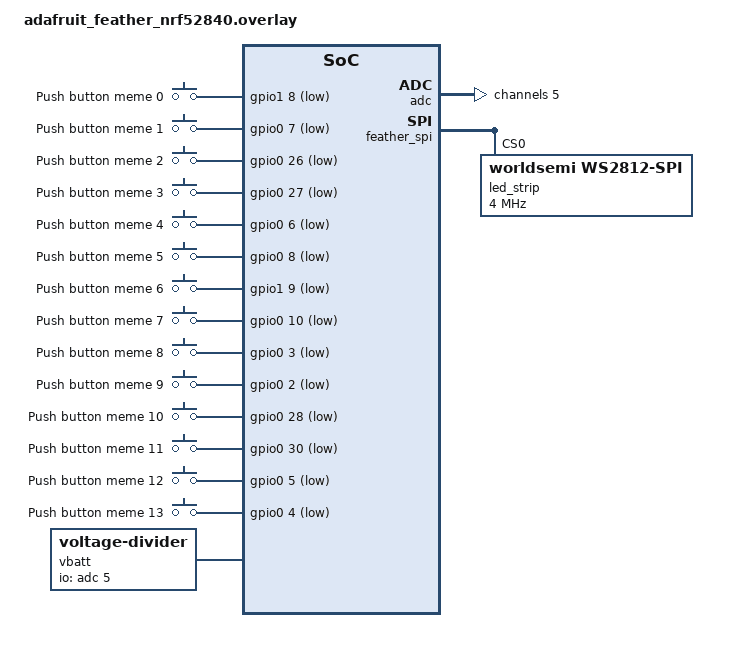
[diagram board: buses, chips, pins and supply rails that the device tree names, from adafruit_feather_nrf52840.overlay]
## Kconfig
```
#
# Copyright (c) 2018 Nordic Semiconductor
#
# SPDX-License-Identifier: LicenseRef-Nordic-5-Clause
#

source "Kconfig.zephyr"

menu "Nordic BLE HIDS Keyboard sample"

config NUM_ON_BOARD_BUTTONS
	int "Number of onboard buttons"
	default 1
	range 0 255
	help
	  Number of buttons declared in the board (not to be included in gamepad update).
config NFC_OOB_PAIRING
	bool "Enable NFC OOB pairing"
	depends on HAS_HW_NRF_NFCT
	default y
	select NFC_T2T_NRFXLIB
	select NFC_NDEF
	select NFC_NDEF_MSG
	select NFC_NDEF_RECORD
	select NFC_NDEF_LE_OOB_REC

endmenu
```

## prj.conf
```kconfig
#
# Copyright (c) 2019 Nordic Semiconductor ASA
#
# SPDX-License-Identifier: LicenseRef-Nordic-5-Clause
#
CONFIG_NCS_SAMPLES_DEFAULTS=y
CONFIG_BOOTLOADER_MCUBOOT=y
CONFIG_NCS_SAMPLE_MCUMGR_BT_OTA_DFU=y
CONFIG_BT=y
CONFIG_BT_DEBUG_LOG=y
CONFIG_BT_MAX_CONN=2
CONFIG_BT_MAX_PAIRED=2
CONFIG_BT_SMP=y
CONFIG_BT_L2CAP_TX_BUF_COUNT=5
CONFIG_BT_PERIPHERAL=y
CONFIG_BT_DEVICE_NAME="ThrillisGamePad"
CONFIG_BT_DEVICE_APPEARANCE=963
CONFIG_BT_BAS=y
CONFIG_BT_HIDS=y
CONFIG_BT_HIDS_MAX_CLIENT_COUNT=2
CONFIG_BT_HIDS_DEFAULT_PERM_RW_ENCRYPT=y
CONFIG_BT_GATT_UUID16_POOL_SIZE=40
CONFIG_BT_GATT_CHRC_POOL_SIZE=20

CONFIG_BT_CONN_CTX=y

CONFIG_BT_DIS=y
CONFIG_BT_DIS_PNP=y
CONFIG_BT_DIS_MANUF="NordicSemiconductor"
CONFIG_BT_DIS_PNP_VID_SRC=2
CONFIG_BT_DIS_PNP_VID=0x1915
CONFIG_BT_DIS_PNP_PID=0xEEEF
CONFIG_BT_DIS_PNP_VER=0x0100

CONFIG_SYSTEM_WORKQUEUE_STACK_SIZE=2048

CONFIG_BT_SETTINGS=y
CONFIG_FLASH=y
CONFIG_FLASH_PAGE_LAYOUT=y
CONFIG_FLASH_MAP=y
CONFIG_NVS=y
CONFIG_SETTINGS=y

CONFIG_DK_LIBRARY=y

CONFIG_NFC_OOB_PAIRING=n
CONFIG_ADC=y
CONFIG_PWM=y
CONFIG_WS2812_STRIP=y
CONFIG_LED_STRIP=y
CONFIG_SPI=y
```

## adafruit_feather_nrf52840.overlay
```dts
// To get started, press Ctrl+Space to bring up the completion menu and view the available nodes.

// You can also use the buttons in the sidebar to perform actions on nodes.
// Actions currently available include:

// * Enabling / disabling the node
// * Adding the bus to a bus
// * Removing the node
// * Connecting ADC channels

// For more help, browse the DeviceTree documentation at https: //docs.zephyrproject.org/latest/guides/dts/index.html
// You can also visit the nRF DeviceTree extension documentation at https: //nrfconnect.github.io/vscode-nrf-connect/devicetree/nrfdevicetree.html
#include <zephyr/dt-bindings/led/led.h>
#define SPI_FREQ    4000000
#define ZERO_FRAME  0x40
#define ONE_FRAME   0x70

/ {
    buttons {
        compatible = "gpio-keys";
        button2: button_2 {
            gpios = <&gpio1 8 (GPIO_PULL_UP | GPIO_ACTIVE_LOW)>;
            label = "Push button meme 0";
        };
        button3: button_3 {
            gpios = <&gpio0 7 (GPIO_PULL_UP | GPIO_ACTIVE_LOW)>;
            label = "Push button meme 1";
        };
        button4: button_4 {
            gpios = <&gpio0 26 (GPIO_PULL_UP | GPIO_ACTIVE_LOW)>;
            label = "Push button meme 2";
        };
        button5: button_5 {
            gpios = <&gpio0 27 (GPIO_PULL_UP | GPIO_ACTIVE_LOW)>;
            label = "Push button meme 3";
        };
        button6: button_6 {
            gpios = <&gpio0 6 (GPIO_PULL_UP | GPIO_ACTIVE_LOW)>;
            label = "Push button meme 4";
        };
        button7: button_7 {
            gpios = <&gpio0 8 (GPIO_PULL_UP | GPIO_ACTIVE_LOW)>;
            label = "Push button meme 5";
        };
        button8: button_8 {
            gpios = <&gpio1 9 (GPIO_PULL_UP | GPIO_ACTIVE_LOW)>;
            label = "Push button meme 6";
        };
        button9: button_9 {
            gpios = <&gpio0 10 (GPIO_PULL_UP | GPIO_ACTIVE_LOW)>;
            label = "Push button meme 7";
        };
        button10: button_10 {
            gpios = <&gpio0 3 (GPIO_PULL_UP | GPIO_ACTIVE_LOW)>;
            label = "Push button meme 8";
        };
        button11: button_11 {
            gpios = <&gpio0 2 (GPIO_PULL_UP | GPIO_ACTIVE_LOW)>;
            label = "Push button meme 9";
        };
        button12: button_12 {
            gpios = <&gpio0 28 (GPIO_PULL_UP | GPIO_ACTIVE_LOW)>;
            label = "Push button meme 10";
        };
        button13: button_13 {
            gpios = <&gpio0 30 (GPIO_PULL_UP | GPIO_ACTIVE_LOW)>;
            label = "Push button meme 11";
        };
        button14: button_14 {
            gpios = <&gpio0 5 (GPIO_PULL_UP | GPIO_ACTIVE_LOW)>;
            label = "Push button meme 12";
        };
        button15: button_15 {
            gpios = <&gpio0 4 (GPIO_PULL_UP | GPIO_ACTIVE_LOW)>;
            label = "Push button meme 13";
        };
    };

    vbatt {
        compatible = "voltage-divider";
        io-channels = <&adc 5>;
        output-ohms = <10>;
        full-ohms = <(10 + 10)>;
    };

};


&adc {
    #address-cells = <1>;
    #size-cells = <0>;

    channel@5 {
        reg = <5>;
        zephyr,gain = "ADC_GAIN_1_6";
        zephyr,reference = "ADC_REF_INTERNAL";
        zephyr,acquisition-time = <ADC_ACQ_TIME_DEFAULT>;
        zephyr,input-positive = <NRF_SAADC_AIN5>; // P0.06
        zephyr,resolution = <14>;
    };

};

&uicr {
    nfct-pins-as-gpios;
};


/{
    aliases {
        led-strip = &led_strip;

    };
};

&pinctrl {
    spi1_default: spi1_default {
        group1 {
            psels = <NRF_PSEL(SPIM_SCK, 0, 14)>,
                    <NRF_PSEL(SPIM_MOSI, 0, 16)>,
                    <NRF_PSEL(SPIM_MISO, 0, 15)>;
        };
    };
};


&feather_spi {/* MOSI on D11 / P0.23 */
    led_strip: ws2812@0 {
        compatible = "worldsemi,ws2812-spi";

        /* SPI */
        reg = <0>; /* ignored, but necessary for SPI bindings */
        spi-max-frequency = <SPI_FREQ>;

        /* WS2812 */
        chain-length = <1>; /* arbitrary; change at will */
        color-mapping = <LED_COLOR_ID_GREEN
        LED_COLOR_ID_RED
        LED_COLOR_ID_BLUE>;
        spi-one-frame = <ONE_FRAME>;
        spi-zero-frame = <ZERO_FRAME>;
    };
};
```

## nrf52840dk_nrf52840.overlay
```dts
// To get started, press Ctrl+Space to bring up the completion menu and view the available nodes.

// You can also use the buttons in the sidebar to perform actions on nodes.
// Actions currently available include:

// * Enabling / disabling the node
// * Adding the bus to a bus
// * Removing the node
// * Connecting ADC channels

// For more help, browse the DeviceTree documentation at https: //docs.zephyrproject.org/latest/guides/dts/index.html
// You can also visit the nRF DeviceTree extension documentation at https: //nrfconnect.github.io/vscode-nrf-connect/devicetree/nrfdevicetree.html

/ {
    buttons {
        compatible = "gpio-keys";
        button4: button_4 {
            gpios = <&gpio1 2 (GPIO_PULL_UP | GPIO_ACTIVE_LOW)>;
            label = "Push button meme 0";
        };
        button5: button_5 {
            gpios = <&gpio1 3 (GPIO_PULL_UP | GPIO_ACTIVE_LOW)>;
            label = "Push button meme 1";
        };
    };

    vbatt {
        compatible = "voltage-divider";
        io-channels = <&adc 5>;
        output-ohms = <10>;
        full-ohms = <(10 + 10)>;
    };

};


&adc {
    #address-cells = <1>;
    #size-cells = <0>;

    channel@5 {
        reg = <5>;
        zephyr,gain = "ADC_GAIN_1_6";
        zephyr,reference = "ADC_REF_INTERNAL";
        zephyr,acquisition-time = <ADC_ACQ_TIME_DEFAULT>;
        zephyr,input-positive = <NRF_SAADC_AIN5>; // P0.06
        zephyr,resolution = <14>;
    };

};


/{pwmleds {
        pwm_led4: pwm_led_4{};
    };
};

&pwm0 {
    status = "disabled";
};

&sw_pwm {
    status = "okay";
    channel-gpios = <&gpio0 16 PWM_POLARITY_INVERTED>;

};

&pwm_led4 {
    pwms = <&sw_pwm 0 PWM_MSEC(20) PWM_POLARITY_INVERTED>;
};


/{aliases {
        pwm-led4 = &pwm_led4;
    };
};
```

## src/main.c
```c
/*
 * Copyright (c) 2018 Nordic Semiconductor ASA
 *
 * SPDX-License-Identifier: LicenseRef-Nordic-5-Clause
 */

#include <zephyr/types.h>
#include <stddef.h>
#include <string.h>
#include <errno.h>
#include <zephyr/sys/printk.h>
#include <zephyr/sys/byteorder.h>
#include <zephyr/kernel.h>
#include <zephyr/drivers/gpio.h>
#include <soc.h>
#include <assert.h>
#include <zephyr/spinlock.h>
#include <zephyr/sys/util.h>
#include <zephyr/device.h>
#include <zephyr/drivers/pwm.h>
#include <zephyr/drivers/spi.h>
#include <zephyr/drivers/led_strip.h>

#include <zephyr/settings/settings.h>

#include <zephyr/bluetooth/bluetooth.h>
#include <zephyr/bluetooth/hci.h>
#include <zephyr/bluetooth/conn.h>
#include <zephyr/bluetooth/uuid.h>
#include <zephyr/bluetooth/gatt.h>
#include <zephyr/usb/class/hid.h>

#include <zephyr/bluetooth/services/bas.h>
#include <bluetooth/services/hids.h>
#include <zephyr/bluetooth/services/dis.h>
#include <dk_buttons_and_leds.h>

#include "app_nfc.h"
#include "battery.h"

#define WHEEL_START_BIT CONFIG_NUM_ON_BOARD_BUTTONS
#define WHEEL_BT_0 BIT(WHEEL_START_BIT)

#define DEVICE_NAME CONFIG_BT_DEVICE_NAME
#define DEVICE_NAME_LEN (sizeof(DEVICE_NAME) - 1)

#define BASE_USB_HID_SPEC_VERSION 0x0101

#define OUTPUT_REPORT_MAX_LEN 1
#define OUTPUT_REPORT_BIT_MASK_CAPS_LOCK 0x02
#define INPUT_REP_KEYS_REF_ID 0
#define OUTPUT_REP_KEYS_REF_ID 0
#define MODIFIER_KEY_POS 0
#define SHIFT_KEY_CODE 0x02
#define SCAN_CODE_POS 2
#define KEYS_MAX_LEN (INPUT_REPORT_KEYS_MAX_LEN - \
					  SCAN_CODE_POS)

#define ADV_LED_BLINK_INTERVAL 500

#define ADV_STATUS_LED DK_LED1
#define CON_STATUS_LED DK_LED2
#define LED_CAPS_LOCK DK_LED3
#define NFC_LED DK_LED4
#define KEY_TEXT_MASK DK_BTN1_MSK
#define KEY_SHIFT_MASK DK_BTN2_MSK
#define KEY_ADV_MASK DK_BTN4_MSK

/* Key used to accept or reject passkey value */
#define KEY_PAIRING_ACCEPT DK_BTN1_MSK
#define KEY_PAIRING_REJECT DK_BTN2_MSK

/* HIDs queue elements. */
#define HIDS_QUEUE_SIZE 10

/* ********************* */
/* Buttons configuration */

/* Note: The configuration below is the same as BOOT mode configuration
 * This simplifies the code as the BOOT mode is the same as REPORT mode.
 * Changing this configuration would require separate implementation of
 * BOOT mode report generation.
 */
#define KEY_CTRL_CODE_MIN 224 /* Control key codes - required 8 of them */
#define KEY_CTRL_CODE_MAX 231 /* Control key codes - required 8 of them */
#define KEY_CODE_MIN 0		  /* Normal key codes */
#define KEY_CODE_MAX 101	  /* Normal key codes */
#define KEY_PRESS_MAX 6		  /* Maximum number of non-control keys \
							   * pressed simultaneously             \
							   */

/* Number of bytes in key report
 *
 * 1B - control keys
 * 1B - reserved
 * rest - non-control keys
 */
#define INPUT_REPORT_KEYS_MAX_LEN (1 + 1 + KEY_PRESS_MAX)

uint8_t button_values = 0;
int8_t axis_values = -127;

/* Current report map construction requires exactly 8 buttons */
BUILD_ASSERT((KEY_CTRL_CODE_MAX - KEY_CTRL_CODE_MIN) + 1 == 8);

/* OUT report internal indexes.
 *
 * This is a position in internal report table and is not related to
 * report ID.
 */
enum
{
	OUTPUT_REP_KEYS_IDX = 0
};

/* INPUT report internal indexes.
 *
 * This is a position in internal report table and is not related to
 * report ID.
 */
enum
{
	INPUT_REP_KEYS_IDX = 0
};

/* HIDS instance. */
BT_HIDS_DEF(hids_obj,
			OUTPUT_REPORT_MAX_LEN,
			INPUT_REPORT_KEYS_MAX_LEN);

static volatile bool is_adv;

static const struct bt_data ad[] = {
	BT_DATA_BYTES(BT_DATA_GAP_APPEARANCE,
				  (CONFIG_BT_DEVICE_APPEARANCE >> 0) & 0xff,
				  (CONFIG_BT_DEVICE_APPEARANCE >> 8) & 0xff),
	BT_DATA_BYTES(BT_DATA_FLAGS, (BT_LE_AD_GENERAL | BT_LE_AD_NO_BREDR)),
	BT_DATA_BYTES(BT_DATA_UUID16_ALL, BT_UUID_16_ENCODE(BT_UUID_HIDS_VAL),
				  BT_UUID_16_ENCODE(BT_UUID_BAS_VAL)),
};

static const struct bt_data sd[] = {
	BT_DATA(BT_DATA_NAME_COMPLETE, DEVICE_NAME, DEVICE_NAME_LEN),
};

static struct conn_mode
{
	struct bt_conn *conn;
	bool in_boot_mode;
} conn_mode[CONFIG_BT_HIDS_MAX_CLIENT_COUNT];

struct gamepad_report_t
{
	//		uint8_t report_id;
	uint16_t buttons;
	int8_t x_axis;
	int8_t y_axis;
	int8_t z_axis;
	int8_t rz_axis;
};
struct gamepad_report_t gamepad;

#define STRIP_NODE DT_ALIAS(led_strip)
#define STRIP_NUM_PIXELS DT_PROP(DT_ALIAS(led_strip), chain_length)
#define THREAD_REDLINE_PRIORITY 5
#define REDLINE_STACK_SIZE 500

K_THREAD_STACK_DEFINE(redline_stack_area, REDLINE_STACK_SIZE);
struct k_thread redline_thread_data;
bool red_lining = false;
#define REDLINE_DELAY_TIME K_MSEC(50)
struct led_rgb pixels[STRIP_NUM_PIXELS];
static const struct device *const strip = DEVICE_DT_GET(STRIP_NODE);

#define RGB(_r, _g, _b)                 \
	{                                   \
		.r = (_r), .g = (_g), .b = (_b) \
	}

static const struct led_rgb pix_red[] = {RGB(0xFF, 0x00, 0x00)};
static const struct led_rgb pix_off[] = {RGB(0x00, 0x00, 0x00)};

/** A discharge curve specific to the power source. */
static const struct battery_level_point levels[] = {
	/* "Curve" here eyeballed from captured data for the [Adafruit
	 * 3.7v 2000 mAh](https://www.adafruit.com/product/2011) LIPO
	 * under full load that started with a charge of 3.96 V and
	 * dropped about linearly to 3.58 V over 15 hours.  It then
	 * dropped rapidly to 3.10 V over one hour, at which point it
	 * stopped transmitting.
	 *
	 * Based on eyeball comparisons we'll say that 15/16 of life
	 * goes between 4.2 and 3.55 V, and 1/16 goes between 3.55 V
	 * and 3.1 V.
	 */

	{10000, 4200},
	{625, 3550},
	{0, 3100},
};

#if CONFIG_NFC_OOB_PAIRING
static struct k_work adv_work;
#endif

static struct k_work pairing_work;
struct pairing_data_mitm
{
	struct bt_conn *conn;
	unsigned int passkey;
};

K_MSGQ_DEFINE(mitm_queue,
			  sizeof(struct pairing_data_mitm),
			  CONFIG_BT_HIDS_MAX_CLIENT_COUNT,
			  4);

static void advertising_start(void)
{
	int err;
	struct bt_le_adv_param *adv_param = BT_LE_ADV_PARAM(
		BT_LE_ADV_OPT_CONNECTABLE |
			BT_LE_ADV_OPT_ONE_TIME,
		BT_GAP_ADV_FAST_INT_MIN_2,
		BT_GAP_ADV_FAST_INT_MAX_2,
		NULL);

	err = bt_le_adv_start(adv_param, ad, ARRAY_SIZE(ad), sd,
						  ARRAY_SIZE(sd));
	if (err)
	{
		if (err == -EALREADY)
		{
			printk("Advertising continued\n");
		}
		else
		{
			printk("Advertising failed to start (err %d)\n", err);
		}

		return;
	}

	is_adv = true;
	printk("Advertising successfully started\n");
}

#if CONFIG_NFC_OOB_PAIRING
static void delayed_advertising_start(struct k_work *work)
{
	advertising_start();
}

void nfc_field_detected(void)
{
	dk_set_led_on(NFC_LED);

	for (int i = 0; i < CONFIG_BT_HIDS_MAX_CLIENT_COUNT; i++)
	{
		if (!conn_mode[i].conn)
		{
			k_work_submit(&adv_work);
			break;
		}
	}
}

void nfc_field_lost(void)
{
	dk_set_led_off(NFC_LED);
}
#endif

static void pairing_process(struct k_work *work)
{
	int err;
	struct pairing_data_mitm pairing_data;

	char addr[BT_ADDR_LE_STR_LEN];

	err = k_msgq_peek(&mitm_queue, &pairing_data);
	if (err)
	{
		return;
	}

	bt_addr_le_to_str(bt_conn_get_dst(pairing_data.conn),
					  addr, sizeof(addr));

	printk("Passkey for %s: %06u\n", addr, pairing_data.passkey);
	printk("Press Button 1 to confirm, Button 2 to reject.\n");
}

static void connected(struct bt_conn *conn, uint8_t err)
{
	char addr[BT_ADDR_LE_STR_LEN];

	bt_addr_le_to_str(bt_conn_get_dst(conn), addr, sizeof(addr));

	if (err)
	{
		printk("Failed to connect to %s (%u)\n", addr, err);
		return;
	}

	printk("Connected %s\n", addr);
	dk_set_led_on(CON_STATUS_LED);

	err = bt_hids_connected(&hids_obj, conn);

	if (err)
	{
		printk("Failed to notify HID service about connection\n");
		return;
	}

	for (size_t i = 0; i < CONFIG_BT_HIDS_MAX_CLIENT_COUNT; i++)
	{
		if (!conn_mode[i].conn)
		{
			conn_mode[i].conn = conn;
			conn_mode[i].in_boot_mode = false;
			break;
		}
	}

#if CONFIG_NFC_OOB_PAIRING == 0
	for (size_t i = 0; i < CONFIG_BT_HIDS_MAX_CLIENT_COUNT; i++)
	{
		if (!conn_mode[i].conn)
		{
			advertising_start();
			return;
		}
	}
#endif
	is_adv = false;
}

static void disconnected(struct bt_conn *conn, uint8_t reason)
{
	int err;
	bool is_any_dev_connected = false;
	char addr[BT_ADDR_LE_STR_LEN];

	bt_addr_le_to_str(bt_conn_get_dst(conn), addr, sizeof(addr));

	printk("Disconnected from %s (reason %u)\n", addr, reason);

	err = bt_hids_disconnected(&hids_obj, conn);

	if (err)
	{
		printk("Failed to notify HID service about disconnection\n");
	}

	for (size_t i = 0; i < CONFIG_BT_HIDS_MAX_CLIENT_COUNT; i++)
	{
		if (conn_mode[i].conn == conn)
		{
			conn_mode[i].conn = NULL;
		}
		else
		{
			if (conn_mode[i].conn)
			{
				is_any_dev_connected = true;
			}
		}
	}

	if (!is_any_dev_connected)
	{
		dk_set_led_off(CON_STATUS_LED);
	}

#if CONFIG_NFC_OOB_PAIRING
	if (is_adv)
	{
		printk("Advertising stopped after disconnect\n");
		bt_le_adv_stop();
		is_adv = false;
	}
#else
	advertising_start();
#endif
}

static void security_changed(struct bt_conn *conn, bt_security_t level,
							 enum bt_security_err err)
{
	char addr[BT_ADDR_LE_STR_LEN];

	bt_addr_le_to_str(bt_conn_get_dst(conn), addr, sizeof(addr));

	if (!err)
	{
		printk("Security changed: %s level %u\n", addr, level);
	}
	else
	{
		printk("Security failed: %s level %u err %d\n", addr, level,
			   err);
	}
}

BT_CONN_CB_DEFINE(conn_callbacks) = {
	.connected = connected,
	.disconnected = disconnected,
	.security_changed = security_changed,
};

static void caps_lock_handler(const struct bt_hids_rep *rep)
{
	uint8_t report_val = ((*rep->data) & OUTPUT_REPORT_BIT_MASK_CAPS_LOCK) ? 1 : 0;
	if (report_val)
	{
		red_lining = true;
	}
	else
	{
		red_lining = false;
	}
	// dk_set_led(LED_CAPS_LOCK, report_val);
}

static void hids_outp_rep_handler(struct bt_hids_rep *rep,
								  struct bt_conn *conn,
								  bool write)
{
	printk("Output report read\n");
	char addr[BT_ADDR_LE_STR_LEN];

	if (!write)
	{
		printk("Output report read\n");
		return;
	};

	bt_addr_le_to_str(bt_conn_get_dst(conn), addr, sizeof(addr));
	printk("Output report has been received %s\n", addr);
	caps_lock_handler(rep);
}

void thread_red_line(void)
{
	int rc;

	while (1)
	{
		if (red_lining)
		{
			memset(&pixels, 0x00, sizeof(pixels));
			memcpy(&pixels[0], &pix_red[0], sizeof(struct led_rgb));
			rc = led_strip_update_rgb(strip, pixels, STRIP_NUM_PIXELS);
			k_sleep(REDLINE_DELAY_TIME);

			memset(&pixels, 0x00, sizeof(pixels));
			memcpy(&pixels[0], &pix_off[0], sizeof(struct led_rgb));
			rc = led_strip_update_rgb(strip, pixels, STRIP_NUM_PIXELS);
			k_sleep(REDLINE_DELAY_TIME);
		}
		else
		{
			memset(&pixels, 0x00, sizeof(pixels));
			memcpy(&pixels[0], &pix_off[0], sizeof(struct led_rgb));
			rc = led_strip_update_rgb(strip, pixels, STRIP_NUM_PIXELS);
			k_sleep(REDLINE_DELAY_TIME);
		}
	}
}

static void hids_pm_evt_handler(enum bt_hids_pm_evt evt,
								struct bt_conn *conn)
{
	char addr[BT_ADDR_LE_STR_LEN];
	size_t i;

	for (i = 0; i < CONFIG_BT_HIDS_MAX_CLIENT_COUNT; i++)
	{
		if (conn_mode[i].conn == conn)
		{
			break;
		}
	}

	if (i >= CONFIG_BT_HIDS_MAX_CLIENT_COUNT)
	{
		printk("Cannot find connection handle when processing PM");
		return;
	}

	bt_addr_le_to_str(bt_conn_get_dst(conn), addr, sizeof(addr));

	switch (evt)
	{
	case BT_HIDS_PM_EVT_BOOT_MODE_ENTERED:
		printk("Boot mode entered %s\n", addr);
		conn_mode[i].in_boot_mode = true;
		break;

	case BT_HIDS_PM_EVT_REPORT_MODE_ENTERED:
		printk("Report mode entered %s\n", addr);
		conn_mode[i].in_boot_mode = false;
		break;

	default:
		break;
	}
}

static void hid_init(void)
{
	int err;
	struct bt_hids_init_param hids_init_obj = {0};
	struct bt_hids_inp_rep *hids_inp_rep;
	struct bt_hids_outp_feat_rep *hids_outp_rep;

	static const uint8_t report_map[] = {

		HID_USAGE_PAGE(HID_USAGE_GEN_DESKTOP),
		HID_USAGE(HID_USAGE_GEN_DESKTOP_GAMEPAD),
		HID_COLLECTION(HID_COLLECTION_APPLICATION),
		HID_USAGE_PAGE(HID_USAGE_GEN_BUTTON),
		HID_USAGE_MIN8(1),
		HID_USAGE_MAX8(16),
		HID_LOGICAL_MIN8(0),
		HID_LOGICAL_MAX8(1),
		HID_REPORT_SIZE(1),
		HID_REPORT_COUNT(16),
		// INPUT (Data,Var,Abs)
		HID_INPUT(0x02),
		HID_USAGE_PAGE(HID_USAGE_GEN_DESKTOP),
		HID_USAGE(HID_USAGE_GEN_DESKTOP_X),
		HID_USAGE(HID_USAGE_GEN_DESKTOP_Y),
		// Z
		HID_USAGE(0x32),
		// Rz
		HID_USAGE(0x35),
		HID_LOGICAL_MIN8(-127),
		HID_LOGICAL_MAX8(127),
		HID_REPORT_SIZE(8),
		HID_REPORT_COUNT(4),
		// INPUT (Data,Var,Abs)
		HID_INPUT(0x02),

		// LED test
		0x95, 0x05, // Report Count (5)
		0x75, 0x01, // Report Size (1)
		0x05, 0x08, // Usage Page (LEDs)
		0x19, 0x01, // Usage Minimum (Num Lock)
		0x29, 0x05, // Usage Maximum (Kana)
		0x91, 0x02, // Output (Data,Var,Abs,No Wrap,Linear,Preferred State,No Null Position,Non-volatile)
		0x95, 0x01, // Report Count (1)
		0x75, 0x03, // Report Size (3)
		0x91, 0x01, // Output (Const,Array,Abs,No Wrap,Linear,Preferred State,No Null Position,Non-volatile)

		HID_END_COLLECTION};

	hids_init_obj.rep_map.data = report_map;
	hids_init_obj.rep_map.size = sizeof(report_map);

	hids_init_obj.info.bcd_hid = BASE_USB_HID_SPEC_VERSION;
	hids_init_obj.info.b_country_code = 0x00;
	hids_init_obj.info.flags = (BT_HIDS_REMOTE_WAKE |
								BT_HIDS_NORMALLY_CONNECTABLE);

	hids_inp_rep =
		&hids_init_obj.inp_rep_group_init.reports[0];
	hids_inp_rep->size = 6; // 1; // 2;
	hids_inp_rep->id = INPUT_REP_KEYS_REF_ID;
	hids_init_obj.inp_rep_group_init.cnt++;

	hids_outp_rep =
		&hids_init_obj.outp_rep_group_init.reports[OUTPUT_REP_KEYS_IDX];
	hids_outp_rep->size = OUTPUT_REPORT_MAX_LEN;
	hids_outp_rep->id = OUTPUT_REP_KEYS_REF_ID;
	hids_outp_rep->handler = hids_outp_rep_handler;
	hids_init_obj.outp_rep_group_init.cnt++;

	hids_init_obj.pm_evt_handler = hids_pm_evt_handler;

	err = bt_hids_init(&hids_obj, &hids_init_obj);
	__ASSERT(err == 0, "HIDS initialization failed\n");
}

static void auth_passkey_display(struct bt_conn *conn, unsigned int passkey)
{
	char addr[BT_ADDR_LE_STR_LEN];

	bt_addr_le_to_str(bt_conn_get_dst(conn), addr, sizeof(addr));

	printk("Passkey for %s: %06u\n", addr, passkey);
}

static void auth_passkey_confirm(struct bt_conn *conn, unsigned int passkey)
{
	int err;

	struct pairing_data_mitm pairing_data;

	pairing_data.conn = bt_conn_ref(conn);
	pairing_data.passkey = passkey;

	err = k_msgq_put(&mitm_queue, &pairing_data, K_NO_WAIT);
	if (err)
	{
		printk("Pairing queue is full. Purge previous data.\n");
	}

	/* In the case of multiple pairing requests, trigger
	 * pairing confirmation which needed user interaction only
	 * once to avoid display information about all devices at
	 * the same time. Passkey confirmation for next devices will
	 * be proccess from queue after handling the earlier ones.
	 */
	if (k_msgq_num_used_get(&mitm_queue) == 1)
	{
		k_work_submit(&pairing_work);
	}
}

static void auth_cancel(struct bt_conn *conn)
{
	char addr[BT_ADDR_LE_STR_LEN];

	bt_addr_le_to_str(bt_conn_get_dst(conn), addr, sizeof(addr));

	printk("Pairing cancelled: %s\n", addr);
}

#if CONFIG_NFC_OOB_PAIRING
static void auth_oob_data_request(struct bt_conn *conn,
								  struct bt_conn_oob_info *info)
{
	int err;
	struct bt_le_oob *oob_local = app_nfc_oob_data_get();

	printk("LESC OOB data requested\n");

	if (info->type != BT_CONN_OOB_LE_SC)
	{
		printk("Only LESC pairing supported\n");
		return;
	}

	if (info->lesc.oob_config != BT_CONN_OOB_LOCAL_ONLY)
	{
		printk("LESC OOB config not supported\n");
		return;
	}

	/* Pass only local OOB data. */
	err = bt_le_oob_set_sc_data(conn, &oob_local->le_sc_data, NULL);
	if (err)
	{
		printk("Error while setting OOB data: %d\n", err);
	}
	else
	{
		printk("Successfully provided LESC OOB data\n");
	}
}
#endif

static void pairing_complete(struct bt_conn *conn, bool bonded)
{
	char addr[BT_ADDR_LE_STR_LEN];

	bt_addr_le_to_str(bt_conn_get_dst(conn), addr, sizeof(addr));

	printk("Pairing completed: %s, bonded: %d\n", addr, bonded);
}

static void pairing_failed(struct bt_conn *conn, enum bt_security_err reason)
{
	char addr[BT_ADDR_LE_STR_LEN];
	struct pairing_data_mitm pairing_data;

	if (k_msgq_peek(&mitm_queue, &pairing_data) != 0)
	{
		return;
	}

	if (pairing_data.conn == conn)
	{
		bt_conn_unref(pairing_data.conn);
		k_msgq_get(&mitm_queue, &pairing_data, K_NO_WAIT);
	}

	bt_addr_le_to_str(bt_conn_get_dst(conn), addr, sizeof(addr));

	printk("Pairing failed conn: %s, reason %d\n", addr, reason);
}

static struct bt_conn_auth_cb conn_auth_callbacks = {
	.passkey_display = auth_passkey_display,
	.passkey_confirm = auth_passkey_confirm,
	.cancel = auth_cancel,
#if CONFIG_NFC_OOB_PAIRING
	.oob_data_request = auth_oob_data_request,
#endif
};

static struct bt_conn_auth_info_cb conn_auth_info_callbacks = {
	.pairing_complete = pairing_complete,
	.pairing_failed = pairing_failed};

static void button_state_changed(uint32_t button_state)
{
	int err;
	gamepad.buttons = (uint16_t)(button_state >> WHEEL_START_BIT);
	err = bt_hids_inp_rep_send(&hids_obj, conn_mode[0].conn, 0, (uint8_t *)&gamepad, sizeof(gamepad), NULL);
}

static void num_comp_reply(bool accept)
{
	struct pairing_data_mitm pairing_data;
	struct bt_conn *conn;

	if (k_msgq_get(&mitm_queue, &pairing_data, K_NO_WAIT) != 0)
	{
		return;
	}

	conn = pairing_data.conn;

	if (accept)
	{
		bt_conn_auth_passkey_confirm(conn);
		printk("Numeric Match, conn %p\n", conn);
	}
	else
	{
		bt_conn_auth_cancel(conn);
		printk("Numeric Reject, conn %p\n", conn);
	}

	bt_conn_unref(pairing_data.conn);

	if (k_msgq_num_used_get(&mitm_queue))
	{
		k_work_submit(&pairing_work);
	}
}

static void button_changed(uint32_t button_state, uint32_t has_changed)
{
	static bool pairing_button_pressed;

	uint32_t buttons = button_state & has_changed;

	if (k_msgq_num_used_get(&mitm_queue))
	{
		if (buttons & KEY_PAIRING_ACCEPT)
		{
			pairing_button_pressed = true;
			num_comp_reply(true);

			return;
		}

		if (buttons & KEY_PAIRING_REJECT)
		{
			pairing_button_pressed = true;
			num_comp_reply(false);

			return;
		}
	}

	/* Do not take any action if the pairing button is released. */
	if (pairing_button_pressed &&
		(has_changed & (KEY_PAIRING_ACCEPT | KEY_PAIRING_REJECT)))
	{
		pairing_button_pressed = false;

		return;
	}

	// we have done an interrupted you're meant to check this against specific buttons like above :)
	// check if it is in our range pro gamer move
	if (has_changed >= WHEEL_BT_0)
	{
		button_state_changed(button_state);
	}

#if CONFIG_NFC_OOB_PAIRING
	if (has_changed & KEY_ADV_MASK)
	{
		size_t i;

		for (i = 0; i < CONFIG_BT_HIDS_MAX_CLIENT_COUNT; i++)
		{
			if (!conn_mode[i].conn)
			{
				advertising_start();
				return;
			}
		}

		printk("Cannot start advertising, all connections slots are"
			   " taken\n");
	}
#endif
}

static void configure_gpio(void)
{
	int err;

	err = dk_buttons_init(button_changed);
	if (err)
	{
		printk("Cannot init buttons (err: %d)\n", err);
	}

	err = dk_leds_init();
	if (err)
	{
		printk("Cannot init LEDs (err: %d)\n", err);
	}
}

static void bas_notify(void)
{
	int batt_mV = battery_sample();
	unsigned int batt_pptt = battery_level_pptt(batt_mV, levels) / 100;
	bt_bas_set_battery_level(batt_pptt);
}

int main(void)
{

	int rc = battery_measure_enable(true);

	if (rc != 0)
	{
		printk("Failed to initialize battery measurement: %d\n", rc);
		return 0;
	}

	int err;

	int blink_status = 0;

	printk("Starting Bluetooth Peripheral HIDS keyboard example\n");

	configure_gpio();

	err = bt_conn_auth_cb_register(&conn_auth_callbacks);
	if (err)
	{
		printk("Failed to register authorization callbacks.\n");
		return 0;
	}

	err = bt_conn_auth_info_cb_register(&conn_auth_info_callbacks);
	if (err)
	{
		printk("Failed to register authorization info callbacks.\n");
		return 0;
	}

	hid_init();

	err = bt_enable(NULL);
	if (err)
	{
		printk("Bluetooth init failed (err %d)\n", err);
		return 0;
	}

	printk("Bluetooth initialized\n");

	if (IS_ENABLED(CONFIG_SETTINGS))
	{
		settings_load();
	}

#if CONFIG_NFC_OOB_PAIRING
	k_work_init(&adv_work, delayed_advertising_start);
	app_nfc_init();
#else
	advertising_start();
#endif

	k_work_init(&pairing_work, pairing_process);

	// if (device_is_ready(strip))
	//{
	k_tid_t my_tid = k_thread_create(&redline_thread_data, redline_stack_area,
									 K_THREAD_STACK_SIZEOF(redline_stack_area),
									 thread_red_line,
									 NULL, NULL, NULL,
									 THREAD_REDLINE_PRIORITY, 0, K_NO_WAIT);
	memset(&pixels, 0x00, sizeof(pixels));
	memcpy(&pixels[0], &pix_red[0], sizeof(struct led_rgb));
	rc = led_strip_update_rgb(strip, pixels, STRIP_NUM_PIXELS);
	//}

	for (;;)
	{
		if (is_adv)
		{
			dk_set_led(ADV_STATUS_LED, (++blink_status) % 2);
		}
		else
		{
			dk_set_led_off(ADV_STATUS_LED);
		}
		bas_notify();
		k_sleep(K_MSEC(ADV_LED_BLINK_INTERVAL));
	}
}
```

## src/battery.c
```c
/*
 * Copyright (c) 2018-2019 Peter Bigot Consulting, LLC
 * Copyright (c) 2019-2020 Nordic Semiconductor ASA
 *
 * SPDX-License-Identifier: Apache-2.0
 */

#include <math.h>
#include <stdio.h>
#include <stdlib.h>

#include <zephyr/kernel.h>
#include <zephyr/init.h>
#include <zephyr/drivers/gpio.h>
#include <zephyr/drivers/adc.h>
#include <zephyr/drivers/sensor.h>
#include <zephyr/logging/log.h>

#include "battery.h"

LOG_MODULE_REGISTER(BATTERY, CONFIG_ADC_LOG_LEVEL);

#define VBATT DT_PATH(vbatt)
#define ZEPHYR_USER DT_PATH(zephyr_user)

#ifdef CONFIG_BOARD_THINGY52_NRF52832
/* This board uses a divider that reduces max voltage to
 * reference voltage (600 mV).
 */
#define BATTERY_ADC_GAIN ADC_GAIN_1
#else
/* Other boards may use dividers that only reduce battery voltage to
 * the maximum supported by the hardware (3.6 V)
 */
#define BATTERY_ADC_GAIN ADC_GAIN_1_6
#endif

struct io_channel_config
{
    uint8_t channel;
};

struct divider_config
{
    struct io_channel_config io_channel;
    struct gpio_dt_spec power_gpios;
    /* output_ohm is used as a flag value: if it is nonzero then
     * the battery is measured through a voltage divider;
     * otherwise it is assumed to be directly connected to Vdd.
     */
    uint32_t output_ohm;
    uint32_t full_ohm;
};

static const struct divider_config divider_config = {
#if DT_NODE_HAS_STATUS(VBATT, okay)
    .io_channel = {
        DT_IO_CHANNELS_INPUT(VBATT),
    },
    .power_gpios = GPIO_DT_SPEC_GET_OR(VBATT, power_gpios, {}),
    .output_ohm = DT_PROP(VBATT, output_ohms),
    .full_ohm = DT_PROP(VBATT, full_ohms),
#else  /* /vbatt exists */
    .io_channel = {
        DT_IO_CHANNELS_INPUT(ZEPHYR_USER),
    },
#endif /* /vbatt exists */
};

struct divider_data
{
    const struct device *adc;
    struct adc_channel_cfg adc_cfg;
    struct adc_sequence adc_seq;
    int16_t raw;
};
static struct divider_data divider_data = {
#if DT_NODE_HAS_STATUS(VBATT, okay)
    .adc = DEVICE_DT_GET(DT_IO_CHANNELS_CTLR(VBATT)),
#else
    .adc = DEVICE_DT_GET(DT_IO_CHANNELS_CTLR(ZEPHYR_USER)),
#endif
};

static int divider_setup(void)
{
    const struct divider_config *cfg = &divider_config;
    const struct io_channel_config *iocp = &cfg->io_channel;
    const struct gpio_dt_spec *gcp = &cfg->power_gpios;
    struct divider_data *ddp = &divider_data;
    struct adc_sequence *asp = &ddp->adc_seq;
    struct adc_channel_cfg *accp = &ddp->adc_cfg;
    int rc;

    if (!device_is_ready(ddp->adc))
    {
        LOG_ERR("ADC device is not ready %s", ddp->adc->name);
        return -ENOENT;
    }

    if (gcp->port)
    {
        if (!device_is_ready(gcp->port))
        {
            LOG_ERR("%s: device not ready", gcp->port->name);
            return -ENOENT;
        }
        rc = gpio_pin_configure_dt(gcp, GPIO_OUTPUT_INACTIVE);
        if (rc != 0)
        {
            LOG_ERR("Failed to control feed %s.%u: %d",
                    gcp->port->name, gcp->pin, rc);
            return rc;
        }
    }

    *asp = (struct adc_sequence){
        .channels = BIT(0),
        .buffer = &ddp->raw,
        .buffer_size = sizeof(ddp->raw),
        .oversampling = 4,
        .calibrate = true,
    };

#ifdef CONFIG_ADC_NRFX_SAADC
    *accp = (struct adc_channel_cfg){
        .gain = BATTERY_ADC_GAIN,
        .reference = ADC_REF_INTERNAL,
        .acquisition_time = ADC_ACQ_TIME(ADC_ACQ_TIME_MICROSECONDS, 40),
    };

    if (cfg->output_ohm != 0)
    {
        accp->input_positive = SAADC_CH_PSELP_PSELP_AnalogInput0 + iocp->channel;
    }
    else
    {
        accp->input_positive = SAADC_CH_PSELP_PSELP_VDD;
    }

    asp->resolution = 14;
#else /* CONFIG_ADC_var */
#error Unsupported ADC
#endif /* CONFIG_ADC_var */

    rc = adc_channel_setup(ddp->adc, accp);
    LOG_INF("Setup AIN%u got %d", iocp->channel, rc);

    return rc;
}

static bool battery_ok;

static int battery_setup(void)
{
    int rc = divider_setup();

    battery_ok = (rc == 0);
    LOG_INF("Battery setup: %d %d", rc, battery_ok);
    return rc;
}

SYS_INIT(battery_setup, APPLICATION, CONFIG_APPLICATION_INIT_PRIORITY);

int battery_measure_enable(bool enable)
{
    int rc = -ENOENT;

    if (battery_ok)
    {
        const struct gpio_dt_spec *gcp = &divider_config.power_gpios;

        rc = 0;
        if (gcp->port)
        {
            rc = gpio_pin_set_dt(gcp, enable);
        }
    }
    return rc;
}

int battery_sample(void)
{
    int rc = -ENOENT;

    if (battery_ok)
    {
        struct divider_data *ddp = &divider_data;
        const struct divider_config *dcp = &divider_config;
        struct adc_sequence *sp = &ddp->adc_seq;

        rc = adc_read(ddp->adc, sp);
        sp->calibrate = false;
        if (rc == 0)
        {
            int32_t val = ddp->raw;

            adc_raw_to_millivolts(adc_ref_internal(ddp->adc),
                                  ddp->adc_cfg.gain,
                                  sp->resolution,
                                  &val);

            if (dcp->output_ohm != 0)
            {
                rc = val * (uint64_t)dcp->full_ohm / dcp->output_ohm;
                LOG_INF("raw %u ~ %u mV => %d mV\n",
                        ddp->raw, val, rc);
            }
            else
            {
                rc = val;
                LOG_INF("raw %u ~ %u mV\n", ddp->raw, val);
            }
        }
    }

    return rc;
}

unsigned int battery_level_pptt(unsigned int batt_mV,
                                const struct battery_level_point *curve)
{
    const struct battery_level_point *pb = curve;

    if (batt_mV >= pb->lvl_mV)
    {
        /* Measured voltage above highest point, cap at maximum. */
        return pb->lvl_pptt;
    }
    /* Go down to the last point at or below the measured voltage. */
    while ((pb->lvl_pptt > 0) && (batt_mV < pb->lvl_mV))
    {
        ++pb;
    }
    if (batt_mV < pb->lvl_mV)
    {
        /* Below lowest point, cap at minimum */
        return pb->lvl_pptt;
    }

    /* Linear interpolation between below and above points. */
    const struct battery_level_point *pa = pb - 1;

    return pb->lvl_pptt + ((pa->lvl_pptt - pb->lvl_pptt) * (batt_mV - pb->lvl_mV) / (pa->lvl_mV - pb->lvl_mV));
}
```

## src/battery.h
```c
/*
 * Copyright (c) 2018-2019 Peter Bigot Consulting, LLC
 *
 * SPDX-License-Identifier: Apache-2.0
 */

#ifndef APPLICATION_BATTERY_H_
#define APPLICATION_BATTERY_H_

/** Enable or disable measurement of the battery voltage.
 *
 * @param enable true to enable, false to disable
 *
 * @return zero on success, or a negative error code.
 */
int battery_measure_enable(bool enable);

/** Measure the battery voltage.
 *
 * @return the battery voltage in millivolts, or a negative error
 * code.
 */
int battery_sample(void);

/** A point in a battery discharge curve sequence.
 *
 * A discharge curve is defined as a sequence of these points, where
 * the first point has #lvl_pptt set to 10000 and the last point has
 * #lvl_pptt set to zero.  Both #lvl_pptt and #lvl_mV should be
 * monotonic decreasing within the sequence.
 */
struct battery_level_point
{
    /** Remaining life at #lvl_mV. */
    uint16_t lvl_pptt;

    /** Battery voltage at #lvl_pptt remaining life. */
    uint16_t lvl_mV;
};

/** Calculate the estimated battery level based on a measured voltage.
 *
 * @param batt_mV a measured battery voltage level.
 *
 * @param curve the discharge curve for the type of battery installed
 * on the system.
 *
 * @return the estimated remaining capacity in parts per ten
 * thousand.
 */
unsigned int battery_level_pptt(unsigned int batt_mV,
                                const struct battery_level_point *curve);

#endif /* APPLICATION_BATTERY_H_ */
```
